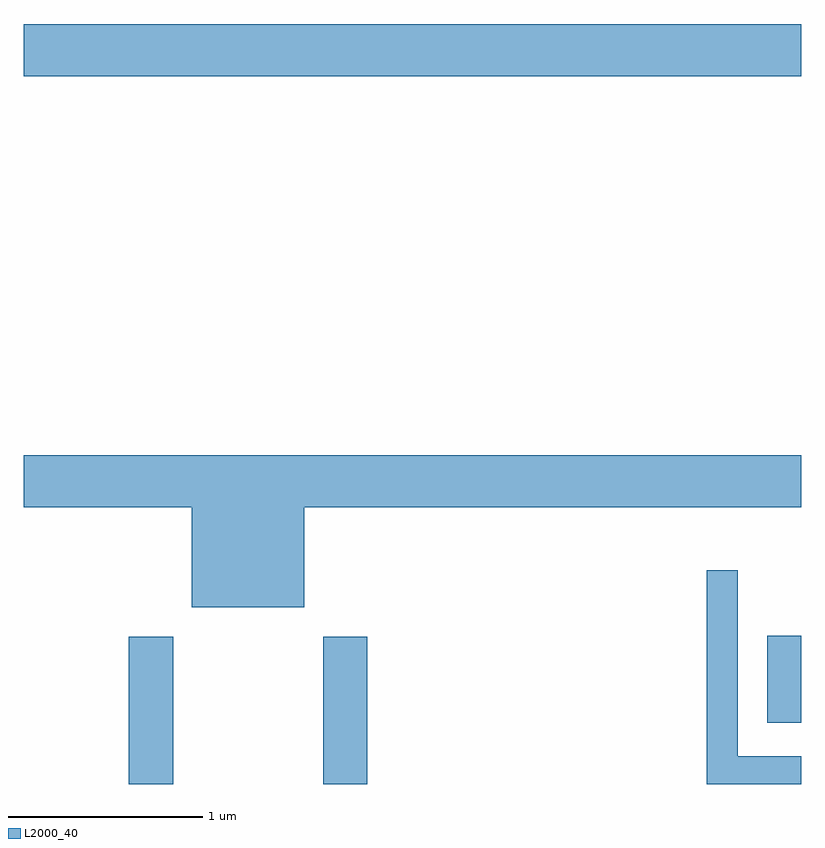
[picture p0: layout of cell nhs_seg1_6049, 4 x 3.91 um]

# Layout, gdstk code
import gdstk
lib = gdstk.Library(unit=1e-6, precision=1e-09)
def R(c, l, rs):  # rectangles x0, y0, x1, y1
    for r in rs: c.add(gdstk.rectangle(r[:2], r[2:], *l))
def P(c, l, *ps):  # polygons
    for p in ps: c.add(gdstk.Polygon(p, *l))
L2000_40 = (2000, 40)

nhs_seg1_6049 = lib.new_cell('nhs_seg1_6049')
R(nhs_seg1_6049, L2000_40, [(368.151,893.712,368.379,894.469), (369.151,893.712,369.379,894.469), (371.436,894.026,371.611,894.474), (367.611,897.356,371.611,897.624)])
P(nhs_seg1_6049, L2000_40, [(369.054,895.136),(371.611,895.136),(371.611,895.404),(367.611,895.404),(367.611,895.136),(368.476,895.136),(368.476,894.621),(369.054,894.621)],
  [(371.611,893.854),(371.284,893.854),(371.284,894.813),(371.126,894.813),(371.126,893.712),(371.611,893.712)])

lib.write_gds('nhs_seg1_6049.gds')
